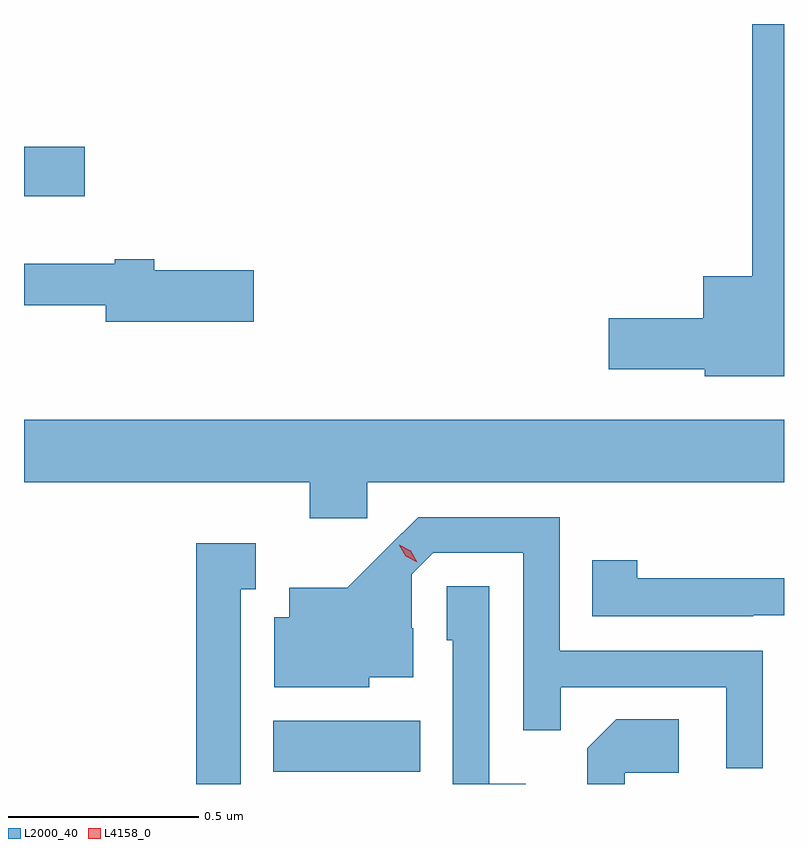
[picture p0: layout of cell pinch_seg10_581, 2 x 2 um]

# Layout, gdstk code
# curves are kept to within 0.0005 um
import gdstk
lib = gdstk.Library(unit=1e-6, precision=1e-09)
def R(c, l, rs):  # rectangles x0, y0, x1, y1
    for r in rs: c.add(gdstk.rectangle(r[:2], r[2:], *l))
def P(c, l, *ps):  # polygons
    for p in ps: c.add(gdstk.Polygon(p, *l))
L2000_40 = (2000, 40)
L4158_0 = (4158, 0)

pinch_seg10_581 = lib.new_cell('pinch_seg10_581')
R(pinch_seg10_581, L2000_40, [(300.317,1264.922,300.704,1265.056), (299.661,1266.437,299.821,1266.567)])
P(pinch_seg10_581, L2000_40, [(301.661,1266.89),(301.578,1266.89),(301.578,1266.226),(301.448,1266.226),(301.448,1266.116),(301.2,1266.116),(301.2,1265.981),(301.452,1265.981),(301.452,1265.963),(301.661,1265.963)],
  [(300.265,1266.242),(300.004,1266.242),(300.004,1266.271),(299.9,1266.271),(299.9,1266.259),(299.661,1266.259),(299.661,1266.15),(299.876,1266.15),(299.876,1266.107),(300.265,1266.107)],
  [(300.564,1265.684),(301.661,1265.684),(301.661,1265.848),(299.661,1265.848),(299.661,1265.684),(300.413,1265.684),(300.413,1265.589),(300.564,1265.589)],
  [(301.605,1265.241),(301.071,1265.241),(301.071,1265.592),(300.698,1265.592),(300.511,1265.407),(300.359,1265.407),(300.359,1265.329),(300.32,1265.329),(300.32,1265.144),(300.57,1265.144),(300.57,1265.171),(300.685,1265.171),(300.685,1265.3),(300.681,1265.3),(300.681,1265.442),(300.738,1265.499),(300.975,1265.499),(300.975,1265.032),(301.073,1265.032),(301.073,1265.145),(301.509,1265.145),(301.509,1264.932),(301.605,1264.932)],
  [(300.232,1265.403),(300.271,1265.403),(300.271,1265.524),(300.114,1265.524),(300.114,1264.89),(300.232,1264.89)],
  [(301.58,1265.334),(301.661,1265.334),(301.661,1265.431),(301.631,1265.431),(301.631,1265.432),(301.275,1265.432),(301.275,1265.479),(301.156,1265.479),(301.156,1265.331),(301.58,1265.331)],
  [(300.982,1264.891),(300.885,1264.891),(300.885,1265.411),(300.774,1265.411),(300.774,1265.268),(300.789,1265.268),(300.789,1264.89),(300.982,1264.89)],
  [(301.242,1264.92),(301.384,1264.92),(301.384,1265.06),(301.219,1265.06),(301.143,1264.984),(301.143,1264.89),(301.242,1264.89)])
P(pinch_seg10_581, L4158_0, [(300.696,1265.474),(300.665,1265.489),(300.648,1265.518),(300.648,1265.519),(300.648,1265.519),(300.679,1265.504),(300.696,1265.474),(300.696,1265.474)])

lib.write_gds('pinch_seg10_581.gds')
